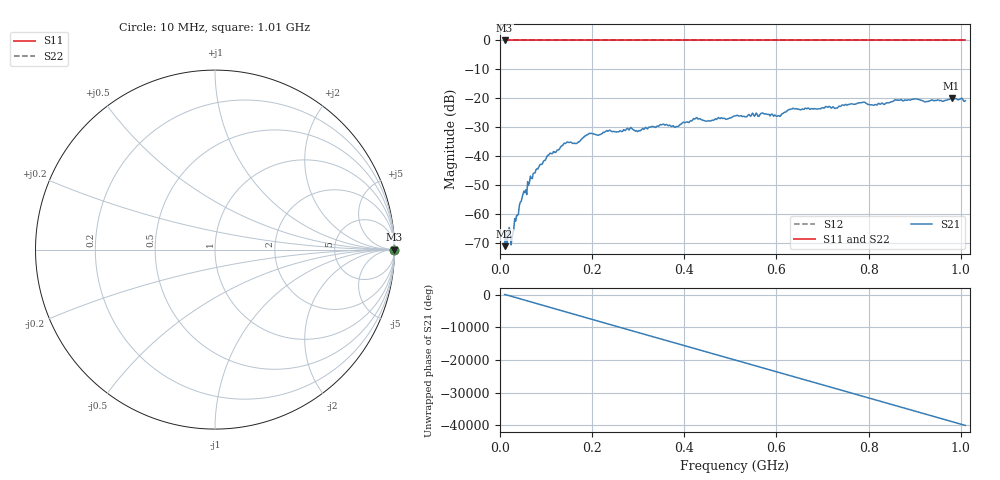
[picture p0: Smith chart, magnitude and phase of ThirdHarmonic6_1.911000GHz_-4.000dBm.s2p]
! 8/16/2025 11:03:03 PM
! C:\ANRITSUVNA\TEMP\TEMP.S2P
! CHANNEL.1
! TR.MEASUREMENT
! RAW.DATA
! RF.CORRECTION.OFF
! AVERAGING.OFF
! IF.BANDWIDTH: 5KHZ
! SWEEPTYPE:  FREQ.SWEEP(Linear)
! Reference Plane Port Info
! PORT:  PORT1  PORT2
! DISTANCE:  0  m  0  m
! TIME:  0  s  0  s
! PHASE.OFFSET:  0  deg.  0  deg.
! LOSS:  0  dB  0  dB
! REF.LOSS:  0  dB  0  dB
! REF.FREQ:  0  Hz  0  Hz
! Power Info
! POWER:  -20  dBm  -20  dBm
! EFF.POWER:  -20  dBm  -20  dBm
! SOURCE.ATTEN:  0  dB  0  dB
! TEST.ATTEN:  0  dB  0  dB
# GHZ S RI R 50.0
! FREQ.GHZ  S11RE  S11IM  S21RE  S21IM  S12RE  S12IM  S22RE  S22IM
!; PortSelection: Port_12
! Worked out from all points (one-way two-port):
!   501 points, 10 MHz to 1.01 GHz, reference 50 ohm
!   highest |S21| = -19.94 dB at 980 MHz (marker M1); lowest = -71.1 dB at 10 MHz (marker M2)
!   lowest |S11| = 0.0 dB at 10 MHz (marker M3)
!   |S11| at or under -10 dB: nowhere
!   |S22| runs from 0.0 to 0.0 dB; largest |S21 - S12| = 1.1
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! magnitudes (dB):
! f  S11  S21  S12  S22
! 10 MHz  0.0  -71.1  0.0  0.0
! 16 MHz  0.0  -69.6  0.0  0.0
! 26 MHz  0.0  -68.3  0.0  0.0
! 48 MHz  0.0  -54.3  0.0  0.0
! 76 MHz  0.0  -45.8  0.0  0.0
! 106 MHz  0.0  -39.6  0.0  0.0
! 142 MHz  0.0  -35.6  0.0  0.0
! 166 MHz  0.0  -35.6  0.0  0.0
! 178 MHz  0.0  -33.9  0.0  0.0
! 196 MHz  0.0  -32.1  0.0  0.0
! 302 MHz  0.0  -31.1  0.0  0.0
! 344 MHz  0.0  -29.7  0.0  0.0
! 382 MHz  0.0  -29.8  0.0  0.0
! 424 MHz  0.0  -27.0  0.0  0.0
! 452 MHz  0.0  -27.7  0.0  0.0
! 510 MHz  0.0  -26.0  0.0  0.0
! 604 MHz  0.0  -26.0  0.0  0.0
! 632 MHz  0.0  -23.7  0.0  0.0
! 678 MHz  0.0  -23.6  0.0  0.0
! 844 MHz  0.0  -21.6  0.0  0.0
! 980 MHz  0.0  -19.9  0.0  0.0
! 1.01 GHz  0.0  -20.8  0.0  0.0
